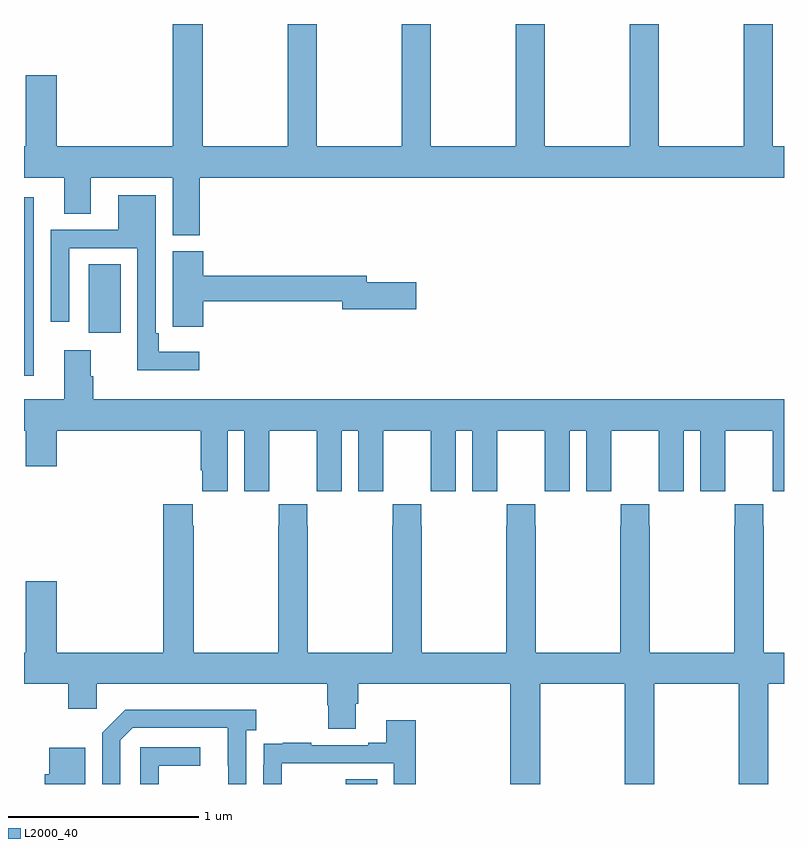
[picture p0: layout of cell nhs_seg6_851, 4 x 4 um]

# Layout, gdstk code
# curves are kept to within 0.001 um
import gdstk
lib = gdstk.Library(unit=1e-6, precision=1e-09)
def R(c, l, rs):  # rectangles x0, y0, x1, y1
    for r in rs: c.add(gdstk.rectangle(r[:2], r[2:], *l))
def P(c, l, *ps):  # polygons
    for p in ps: c.add(gdstk.Polygon(p, *l))
L2000_40 = (2000, 40)

nhs_seg6_851 = lib.new_cell('nhs_seg6_851')
R(nhs_seg6_851, L2000_40, [(166.694,921.5,166.858,921.524), (165,923.649,165.052,924.589), (165.341,923.874,165.508,924.236)])
P(nhs_seg6_851, L2000_40, [(169,924.856),(168.942,924.856),(168.942,925.5),(168.787,925.5),(168.787,924.856),(168.342,924.856),(168.342,925.5),(168.187,925.5),(168.187,924.856),(167.742,924.856),(167.742,925.5),(167.587,925.5),(167.587,924.856),(167.142,924.856),(167.142,925.5),(166.987,925.5),(166.987,924.856),(166.542,924.856),(166.542,925.5),(166.387,925.5),(166.387,924.856),(165.942,924.856),(165.942,925.5),(165.782,925.5),(165.782,924.856),(165.172,924.856),(165.172,925.231),(165.008,925.231),(165.008,924.856),(165,924.856),(165,924.692),(165.212,924.692),(165.212,924.502),(165.352,924.502),(165.352,924.692),(165.782,924.692),(165.782,924.388),(165.926,924.388),(165.926,924.692),(169,924.692)],
  [(165.922,923.776),(165.709,923.776),(165.709,923.872),(165.693,923.872),(165.693,924.598),(165.497,924.598),(165.497,924.417),(165.141,924.417),(165.141,923.934),(165.237,923.934),(165.237,924.321),(165.597,924.321),(165.597,923.678),(165.922,923.678)],
  [(165.944,924.04),(166.676,924.04),(166.676,923.998),(167.065,923.998),(167.065,924.14),(166.804,924.14),(166.804,924.176),(165.944,924.176),(165.944,924.303),(165.782,924.303),(165.782,924.019),(165.783,924.019),(165.783,923.907),(165.944,923.907)],
  [(166.072,923.36),(166.16,923.36),(166.16,923.04),(166.29,923.04),(166.29,923.152),(166.291,923.152),(166.291,923.36),(166.541,923.36),(166.541,923.152),(166.542,923.152),(166.542,923.04),(166.672,923.04),(166.672,923.36),(166.76,923.36),(166.76,923.04),(166.89,923.04),(166.89,923.152),(166.891,923.152),(166.891,923.36),(167.141,923.36),(167.141,923.152),(167.142,923.152),(167.142,923.04),(167.272,923.04),(167.272,923.36),(167.36,923.36),(167.36,923.04),(167.49,923.04),(167.49,923.152),(167.491,923.152),(167.491,923.36),(167.741,923.36),(167.741,923.152),(167.742,923.152),(167.742,923.04),(167.872,923.04),(167.872,923.36),(167.96,923.36),(167.96,923.04),(168.09,923.04),(168.09,923.152),(168.091,923.152),(168.091,923.36),(168.341,923.36),(168.341,923.152),(168.342,923.152),(168.342,923.04),(168.472,923.04),(168.472,923.36),(168.56,923.36),(168.56,923.04),(168.69,923.04),(168.69,923.152),(168.691,923.152),(168.691,923.36),(168.941,923.36),(168.941,923.152),(168.942,923.152),(168.942,923.04),(169,923.04),(169,923.524),(165.365,923.524),(165.365,923.645),(165.352,923.645),(165.352,923.782),(165.212,923.782),(165.212,923.524),(165,923.524),(165,923.36),(165.008,923.36),(165.008,923.172),(165.172,923.172),(165.172,923.36),(165.929,923.36),(165.929,923.152),(165.938,923.152),(165.938,923.04),(166.072,923.04)],
  [(165.233,921.897),(165.384,921.897),(165.384,922.028),(166.595,922.028),(166.595,921.915),(166.6,921.915),(166.6,921.79),(166.747,921.79),(166.747,921.922),(166.76,921.922),(166.76,922.028),(167.558,922.028),(167.558,921.5),(167.718,921.5),(167.718,922.028),(168.163,922.028),(168.163,921.5),(168.318,921.5),(168.318,922.028),(168.763,922.028),(168.763,921.5),(168.918,921.5),(168.918,922.028),(169,922.028),(169,922.192),(168.894,922.192),(168.894,922.859),(168.891,922.859),(168.891,922.972),(168.741,922.972),(168.741,922.859),(168.739,922.859),(168.739,922.192),(168.294,922.192),(168.294,922.859),(168.291,922.859),(168.291,922.972),(168.141,922.972),(168.141,922.859),(168.139,922.859),(168.139,922.192),(167.694,922.192),(167.694,922.859),(167.691,922.859),(167.691,922.972),(167.541,922.972),(167.541,922.859),(167.539,922.859),(167.539,922.192),(167.094,922.192),(167.094,922.859),(167.091,922.859),(167.091,922.972),(166.941,922.972),(166.941,922.859),(166.939,922.859),(166.939,922.192),(166.494,922.192),(166.494,922.859),(166.491,922.859),(166.491,922.972),(166.341,922.972),(166.341,922.859),(166.339,922.859),(166.339,922.192),(165.894,922.192),(165.894,922.859),(165.887,922.859),(165.887,922.972),(165.734,922.972),(165.734,922.192),(165.172,922.192),(165.172,922.567),(165.008,922.567),(165.008,922.192),(165,922.192),(165,922.028),(165.233,922.028)],
  [(165.507,921.729),(165.573,921.795),(166.073,921.795),(166.074,921.5),(166.17,921.5),(166.17,921.782),(166.222,921.782),(166.222,921.892),(165.532,921.892),(165.411,921.771),(165.411,921.5),(165.507,921.5)],
  [(166.356,921.609),(166.947,921.609),(166.947,921.5),(167.063,921.5),(167.063,921.835),(166.907,921.835),(166.907,921.718),(166.811,921.718),(166.811,921.705),(166.511,921.705),(166.511,921.718),(166.363,921.718),(166.363,921.711),(166.261,921.711),(166.261,921.602),(166.26,921.602),(166.26,921.5),(166.356,921.5)],
  [(165.708,921.597),(165.928,921.597),(165.928,921.693),(165.612,921.693),(165.612,921.5),(165.708,921.5)],
  [(165.322,921.691),(165.134,921.691),(165.134,921.552),(165.11,921.552),(165.11,921.5),(165.322,921.5)])

lib.write_gds('nhs_seg6_851.gds')
